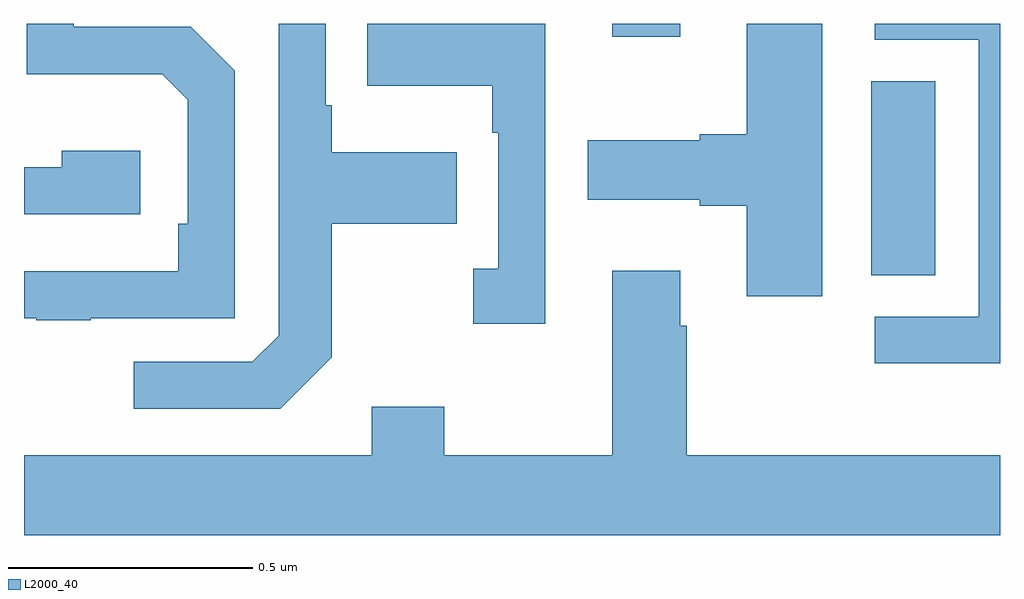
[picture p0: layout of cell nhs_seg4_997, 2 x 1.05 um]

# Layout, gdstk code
import gdstk
lib = gdstk.Library(unit=1e-6, precision=1e-09)
def R(c, l, rs):  # rectangles x0, y0, x1, y1
    for r in rs: c.add(gdstk.rectangle(r[:2], r[2:], *l))
def P(c, l, *ps):  # polygons
    for p in ps: c.add(gdstk.Polygon(p, *l))
L2000_40 = (2000, 40)

nhs_seg4_997 = lib.new_cell('nhs_seg4_997')
R(nhs_seg4_997, L2000_40, [(124.736,765.385,124.867,765.782), (124.205,765.873,124.345,765.9)])
P(nhs_seg4_997, L2000_40, [(125,765.9),(124.743,765.9),(124.743,765.867),(124.956,765.867),(124.956,765.3),(124.743,765.3),(124.743,765.204),(125,765.204)],
  [(123.137,765.297),(123.432,765.297),(123.432,765.804),(123.342,765.894),(123.102,765.894),(123.102,765.9),(123.006,765.9),(123.006,765.797),(123.283,765.797),(123.336,765.744),(123.336,765.49),(123.316,765.49),(123.316,765.393),(123,765.393),(123,765.297),(123.025,765.297),(123.025,765.292),(123.137,765.292)],
  [(124.068,765.9),(123.703,765.9),(123.703,765.773),(123.96,765.773),(123.96,765.677),(123.972,765.677),(123.972,765.398),(123.921,765.398),(123.921,765.285),(124.068,765.285)],
  [(124.636,765.9),(124.481,765.9),(124.481,765.674),(124.385,765.674),(124.385,765.661),(124.155,765.661),(124.155,765.539),(124.385,765.539),(124.385,765.527),(124.481,765.527),(124.481,765.342),(124.636,765.342)],
  [(123.631,765.217),(123.631,765.49),(123.887,765.49),(123.887,765.637),(123.631,765.637),(123.631,765.733),(123.618,765.733),(123.618,765.9),(123.522,765.9),(123.522,765.261),(123.468,765.207),(123.225,765.207),(123.225,765.111),(123.525,765.111)],
  [(123.238,765.64),(123.077,765.64),(123.077,765.606),(123,765.606),(123,765.51),(123.238,765.51)],
  [(125,765.016),(124.358,765.016),(124.358,765.281),(124.345,765.281),(124.345,765.394),(124.205,765.394),(124.205,765.016),(123.861,765.016),(123.861,765.115),(123.713,765.115),(123.713,765.016),(123,765.016),(123,764.852),(125,764.852)])

lib.write_gds('nhs_seg4_997.gds')
